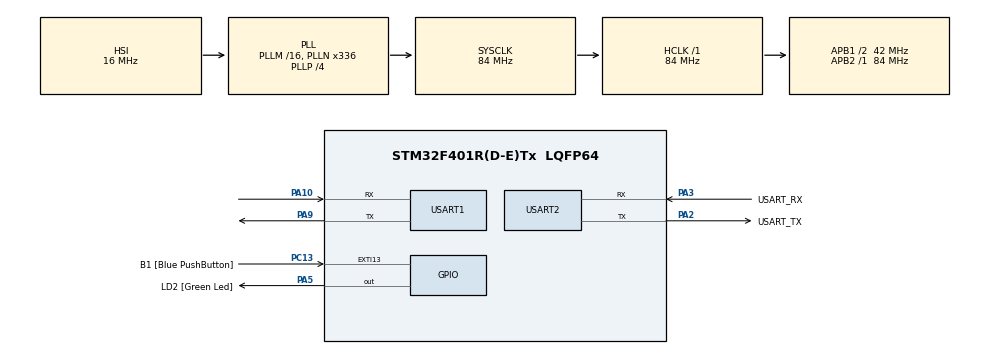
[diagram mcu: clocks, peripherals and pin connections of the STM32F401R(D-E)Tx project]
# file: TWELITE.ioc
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Dma.Request0=USART1_RX
Dma.USART1_RX.0.Direction=DMA_PERIPH_TO_MEMORY
Dma.USART1_RX.0.FIFOMode=DMA_FIFOMODE_DISABLE
Dma.USART1_RX.0.Instance=DMA2_Stream2
Dma.USART1_RX.0.MemDataAlignment=DMA_MDATAALIGN_BYTE
Dma.USART1_RX.0.MemInc=DMA_MINC_ENABLE
Dma.USART1_RX.0.Mode=DMA_NORMAL
Dma.USART1_RX.0.PeriphDataAlignment=DMA_PDATAALIGN_BYTE
Dma.USART1_RX.0.PeriphInc=DMA_PINC_DISABLE
Dma.USART1_RX.0.Priority=DMA_PRIORITY_LOW
Mcu.Family=STM32F4
Mcu.Name=STM32F401R(D-E)Tx
Mcu.Package=LQFP64
NVIC.DMA2_Stream2_IRQn=true\:0\:0\:false\:false\:true\:false\:true
NVIC.PriorityGroup=NVIC_PRIORITYGROUP_0
NVIC.USART1_IRQn=true\:0\:15\:true\:false\:true\:true\:true
PA10.Mode=Asynchronous
PA10.Signal=USART1_RX
PA13.GPIO_Label=TMS
PA13.Mode=Serial_Wire
PA13.Signal=SYS_JTMS-SWDIO
PA14.GPIO_Label=TCK
PA14.Mode=Serial_Wire
PA14.Signal=SYS_JTCK-SWCLK
PA2.GPIO_Label=USART_TX
PA2.GPIO_Mode=GPIO_MODE_AF_PP
PA2.GPIO_PuPd=GPIO_NOPULL
PA2.GPIO_Speed=GPIO_SPEED_FREQ_LOW
PA2.Mode=Asynchronous
PA2.Signal=USART2_TX
PA3.GPIO_Label=USART_RX
PA3.GPIO_Mode=GPIO_MODE_AF_PP
PA3.GPIO_PuPd=GPIO_NOPULL
PA3.GPIO_Speed=GPIO_SPEED_FREQ_LOW
PA3.Mode=Asynchronous
PA3.Signal=USART2_RX
PA5.GPIO_Label=LD2 [Green Led]
PA5.GPIO_Mode=GPIO_MODE_OUTPUT_PP
PA5.GPIO_PuPd=GPIO_NOPULL
PA5.GPIO_Speed=GPIO_SPEED_FREQ_LOW
PA5.Signal=GPIO_Output
PA9.Mode=Asynchronous
PA9.Signal=USART1_TX
PB3.GPIO_Label=SWO
PB3.Signal=SYS_JTDO-SWO
PB8.Signal=I2C1_SCL
PB9.Signal=I2C1_SDA
PC13-ANTI_TAMP.GPIO_Label=B1 [Blue PushButton]
PC13-ANTI_TAMP.GPIO_ModeDefaultEXTI=GPIO_MODE_IT_FALLING
PC13-ANTI_TAMP.GPIO_PuPd=GPIO_NOPULL
PC13-ANTI_TAMP.Signal=GPXTI13
PC14-OSC32_IN.Mode=LSE-External-Oscillator
PC14-OSC32_IN.Signal=RCC_OSC32_IN
PC15-OSC32_OUT.Mode=LSE-External-Oscillator
PC15-OSC32_OUT.Signal=RCC_OSC32_OUT
PH0\ -\ OSC_IN.Mode=HSE-External-Clock-Source
PH0\ -\ OSC_IN.Signal=RCC_OSC_IN
PH1\ -\ OSC_OUT.Mode=HSE-External-Clock-Source
PH1\ -\ OSC_OUT.Signal=RCC_OSC_OUT
ProjectManager.HeapSize=0x200
ProjectManager.StackSize=0x400
ProjectManager.TargetToolchain=TrueSTUDIO
RCC.48MHZClocksFreq_Value=48000000
RCC.AHBFreq_Value=84000000
RCC.APB1CLKDivider=RCC_HCLK_DIV2
RCC.APB1Freq_Value=42000000
RCC.APB1TimFreq_Value=84000000
RCC.APB2Freq_Value=84000000
RCC.APB2TimFreq_Value=84000000
RCC.CortexFreq_Value=84000000
RCC.HCLKFreq_Value=84000000
RCC.HSE_VALUE=8000000
RCC.HSI_VALUE=16000000
RCC.PLLN=336
RCC.PLLP=RCC_PLLP_DIV4
RCC.PLLQ=7
RCC.SYSCLKFreq_VALUE=84000000
RCC.SYSCLKSource=RCC_SYSCLKSOURCE_PLLCLK
RCC.VCOOutputFreq_Value=336000000
USART1.VirtualMode=VM_ASYNC
USART2.VirtualMode=VM_ASYNC
board=NUCLEO-F401RE

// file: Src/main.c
/* USER CODE BEGIN Header */
/**
 ******************************************************************************
 * @file           : main.c
 * @brief          : Main program body
 ******************************************************************************
 * @attention
 *
 * <h2><center>&copy; Copyright (c) 2019 STMicroelectronics.
 * All rights reserved.</center></h2>
 *
 * This software component is licensed by ST under BSD 3-Clause license,
 * the "License"; You may not use this file except in compliance with the
 * License. You may obtain a copy of the License at:
 *                        opensource.org/licenses/BSD-3-Clause
 *
 ******************************************************************************
 */
/* USER CODE END Header */

#include "main.h"
#include "dma.h"
#include "usart.h"
#include "gpio.h"

/* USER CODE BEGIN Includes */
#include <stdio.h>
#include <stdbool.h>
#include "twelite.h"
/* USER CODE END Includes */

/* USER CODE BEGIN PV */
volatile bool request_received = false;

/* USER CODE END PV */

void SystemClock_Config(void);

int main(void)
{
  /* USER CODE BEGIN 1 */

  uint8_t buf[EOT_POS + 1];

  // Test data
  int8_t data_int8_t[] = { -128, -2, -1, 0, 1, 2, 127 };
  int16_t data_int16_t[] = { -32768, -256, -255, -254, 0, 254, 255, 256, 32767 };
  char data_ascii[] = "ASCII";

  uint8_t cmd;
  uint8_t seq;

  /* USER CODE END 1 */

  /* MCU Configuration--------------------------------------------------------*/

  /* Reset of all peripherals, Initializes the Flash interface and the Systick. */
  HAL_Init();

  /* Configure the system clock */
  SystemClock_Config();

  /* Initialize all configured peripherals */
  MX_GPIO_Init();
  MX_DMA_Init();
  MX_USART2_UART_Init();
  MX_USART1_UART_Init();
  /* USER CODE BEGIN 2 */

  HAL_UART_Receive_DMA(&huart1, buf, EOT_POS + 1);

  /* USER CODE END 2 */

  /* Infinite loop */
  /* USER CODE BEGIN WHILE */
  while (1) {

    HAL_Delay(1);

    if (request_received) {

      // Receive a request (command) from a master node.
      twelite_uart_rx(buf, &cmd, &seq);

      // Return a response to the master node.
      switch (cmd) {
      case 'i':
        twelite_uart_tx((uint8_t *) data_int8_t, seq++, sizeof(data_int8_t));
        break;
      case 'l':
        twelite_uart_tx((uint8_t *) data_int16_t, seq++, sizeof(data_int16_t));
        break;
      case 'a':
        twelite_uart_tx((uint8_t *) data_ascii, seq++, sizeof(data_ascii));
        break;
      default:
        break;
      }

      request_received = false;

      HAL_UART_Receive_DMA(&huart1, buf, EOT_POS + 1);
    }
    /* USER CODE END WHILE */

  }
}

void SystemClock_Config(void)
{
  RCC_OscInitTypeDef RCC_OscInitStruct = {0};
  RCC_ClkInitTypeDef RCC_ClkInitStruct = {0};

  /** Configure the main internal regulator output voltage
  */
  __HAL_RCC_PWR_CLK_ENABLE();
  __HAL_PWR_VOLTAGESCALING_CONFIG(PWR_REGULATOR_VOLTAGE_SCALE2);
  /** Initializes the CPU, AHB and APB busses clocks
  */
  RCC_OscInitStruct.OscillatorType = RCC_OSCILLATORTYPE_HSI;
  RCC_OscInitStruct.HSIState = RCC_HSI_ON;
  RCC_OscInitStruct.HSICalibrationValue = RCC_HSICALIBRATION_DEFAULT;
  RCC_OscInitStruct.PLL.PLLState = RCC_PLL_ON;
  RCC_OscInitStruct.PLL.PLLSource = RCC_PLLSOURCE_HSI;
  RCC_OscInitStruct.PLL.PLLM = 16;
  RCC_OscInitStruct.PLL.PLLN = 336;
  RCC_OscInitStruct.PLL.PLLP = RCC_PLLP_DIV4;
  RCC_OscInitStruct.PLL.PLLQ = 7;
  if (HAL_RCC_OscConfig(&RCC_OscInitStruct) != HAL_OK)
  {
    Error_Handler();
  }
  /** Initializes the CPU, AHB and APB busses clocks
  */
  RCC_ClkInitStruct.ClockType = RCC_CLOCKTYPE_HCLK|RCC_CLOCKTYPE_SYSCLK
                              |RCC_CLOCKTYPE_PCLK1|RCC_CLOCKTYPE_PCLK2;
  RCC_ClkInitStruct.SYSCLKSource = RCC_SYSCLKSOURCE_PLLCLK;
  RCC_ClkInitStruct.AHBCLKDivider = RCC_SYSCLK_DIV1;
  RCC_ClkInitStruct.APB1CLKDivider = RCC_HCLK_DIV2;
  RCC_ClkInitStruct.APB2CLKDivider = RCC_HCLK_DIV1;

  if (HAL_RCC_ClockConfig(&RCC_ClkInitStruct, FLASH_LATENCY_2) != HAL_OK)
  {
    Error_Handler();
  }
}

/* USER CODE BEGIN 4 */

/*
 * One-byte command reception from PC
 */
void HAL_UART_RxCpltCallback(UART_HandleTypeDef *huart) {
  request_received = true;
}

/*
 * Override _write function.
 *
 * Note: usart2 is used for outputting debug info.
 */
int _write(int file, char *ptr, int len) {
  HAL_UART_Transmit(&huart2, (uint8_t *) ptr, (uint16_t) len, 0xFFFFFFFF);
  return len;
}

/* USER CODE END 4 */

void Error_Handler(void)
{
}

/************************ (C) COPYRIGHT STMicroelectronics *****END OF FILE****/
